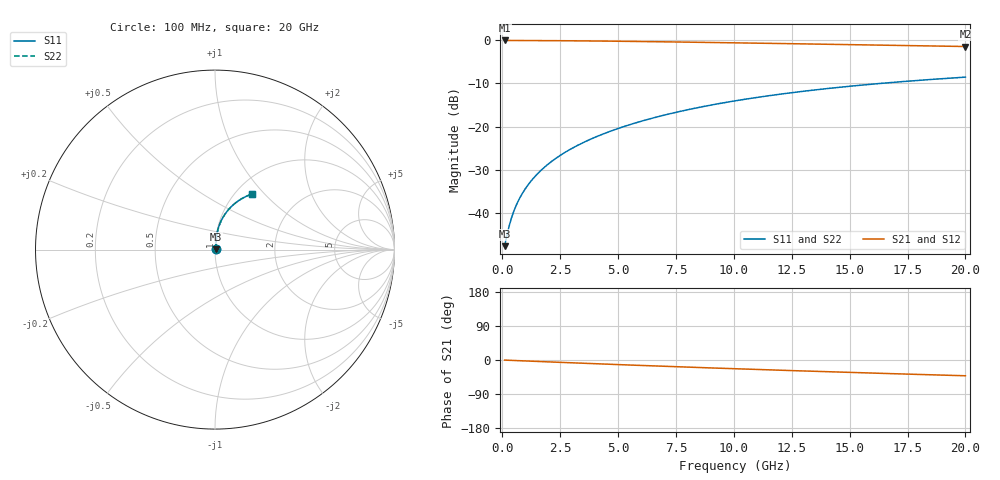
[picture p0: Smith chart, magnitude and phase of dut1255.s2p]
! Touchstone file exported from HFSS 2024.1.0
!  File:  C:/UserFiles/LocalFiles/RDL_TSV_Batchsim/temp_RDL_top_1255_1780241532.aedt
!  Generated:  11:34:29 PM May 31, 2026
!  Design:  RDL_top
!  Project:  temp_RDL_top_1255_1780241532
!  Setup:  Setup1
!  Solution:  Sweep
! Variables:
!  dtsv = 10.80580581um
!  hbump = 3um
!  htsv = 82.15um
!  ldown = 100um
!  lrdl = 579.62um
!  p = 40
!  p1 = 49.9um
!  rhole = 1um
!  t = 450um
!  tdown = 3.915915916um
!  trdl = 2.78um
!  wdown = 15.38538539um
!  wrdl = 22.19um
# GHz S MA R 50.000000
! Terminal data exported
! Port[1] = Box2_T1
! Port[2] = Box2_T2
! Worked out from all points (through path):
!   200 points, 100 MHz to 20 GHz, reference 50 ohm
!   highest |S21| = -0.03 dB at 100 MHz (marker M1); lowest = -1.4 dB at 20 GHz (marker M2)
!   group delay of S21, straight-line fit = 5.74 ps
!   lowest |S11| = -47.7 dB at 100 MHz (marker M3), VSWR 1.01, Z = 50.4 + j0.205 ohm
!   |S11| at or under -10 dB: start of sweep to 16.32 GHz
!   |S22| runs from -47.7 to -8.5 dB; largest |S21 - S12| = 2.6e-15
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0.1  0.004108 29.7  0.9964 -0.3  0.9964 -0.3  0.004108 29.7
! Gamma 0 0 0 0
! Port Impedance 50 0 50 0
0.2  0.005465 47.5  0.9963 -0.5  0.9963 -0.5  0.005465 47.5
0.3  0.007088 57.0  0.9961 -0.8  0.9961 -0.8  0.007088 57.0
0.4  0.00878 62.7  0.9959 -1.0  0.9959 -1.0  0.00878 62.7
0.5  0.01049 66.5  0.9956 -1.3  0.9956 -1.3  0.01049 66.5
0.6  0.0122 69.3  0.9954 -1.5  0.9954 -1.5  0.0122 69.3
0.8  0.01564 73.3  0.995 -2.0  0.995 -2.0  0.01564 73.3
1.1  0.02088 76.9  0.9944 -2.8  0.9944 -2.8  0.02088 76.9
1.3  0.02441 78.5  0.9939 -3.3  0.9939 -3.3  0.02441 78.5
1.6  0.02979 80.1  0.9931 -4.0  0.9931 -4.0  0.02979 80.1
2.1  0.03891 81.8  0.9915 -5.2  0.9915 -5.2  0.0389 81.8
2.7  0.05008 82.8  0.9891 -6.7  0.9891 -6.7  0.05007 82.8
3.5  0.06535 83.3  0.9852 -8.6  0.9852 -8.6  0.06534 83.3
4.2  0.07903 83.1  0.9811 -10.3  0.9811 -10.3  0.07902 83.1
5  0.095 82.6  0.9759 -12.1  0.9759 -12.1  0.09499 82.6
6.8  0.1318 80.4  0.9626 -16.2  0.9626 -16.2  0.1318 80.4
8.4  0.1649 77.8  0.9496 -19.6  0.9496 -19.6  0.1649 77.8
10.1  0.1997 74.7  0.9351 -23.2  0.9351 -23.2  0.1997 74.7
11.7  0.2316 71.7  0.9211 -26.4  0.9211 -26.4  0.2316 71.7
13.4  0.2642 68.4  0.906 -29.7  0.906 -29.7  0.2641 68.4
16.7  0.3226 62.1  0.8766 -35.8  0.8766 -35.8  0.3225 62.1
20  0.3741 56.1  0.8477 -41.6  0.8477 -41.6  0.374 56.1
